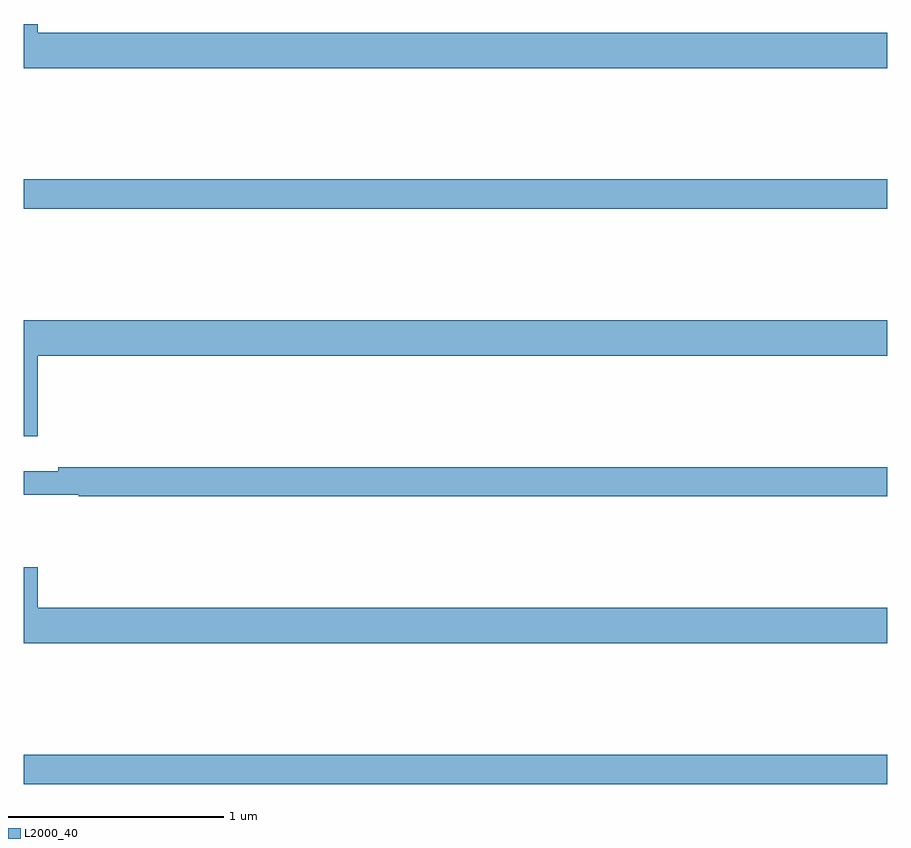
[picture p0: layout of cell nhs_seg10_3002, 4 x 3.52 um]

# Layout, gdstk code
import gdstk
lib = gdstk.Library(unit=1e-6, precision=1e-09)
def R(c, l, rs):  # rectangles x0, y0, x1, y1
    for r in rs: c.add(gdstk.rectangle(r[:2], r[2:], *l))
def P(c, l, *ps):  # polygons
    for p in ps: c.add(gdstk.Polygon(p, *l))
L2000_40 = (2000, 40)

nhs_seg10_3002 = lib.new_cell('nhs_seg10_3002')
R(nhs_seg10_3002, L2000_40, [(273,1316.98,277,1317.116), (273,1319.644,277,1319.78)])
P(nhs_seg10_3002, L2000_40, [(277,1320.46),(273.064,1320.46),(273.064,1320.5),(273,1320.5),(273,1320.296),(277,1320.296)],
  [(273.064,1318.964),(277,1318.964),(277,1319.128),(273,1319.128),(273,1318.59),(273.064,1318.59)],
  [(277,1318.448),(273.16,1318.448),(273.16,1318.429),(273,1318.429),(273,1318.32),(273.254,1318.32),(273.254,1318.312),(277,1318.312)],
  [(277,1317.796),(273.064,1317.796),(273.064,1317.985),(273,1317.985),(273,1317.632),(277,1317.632)])

lib.write_gds('nhs_seg10_3002.gds')
